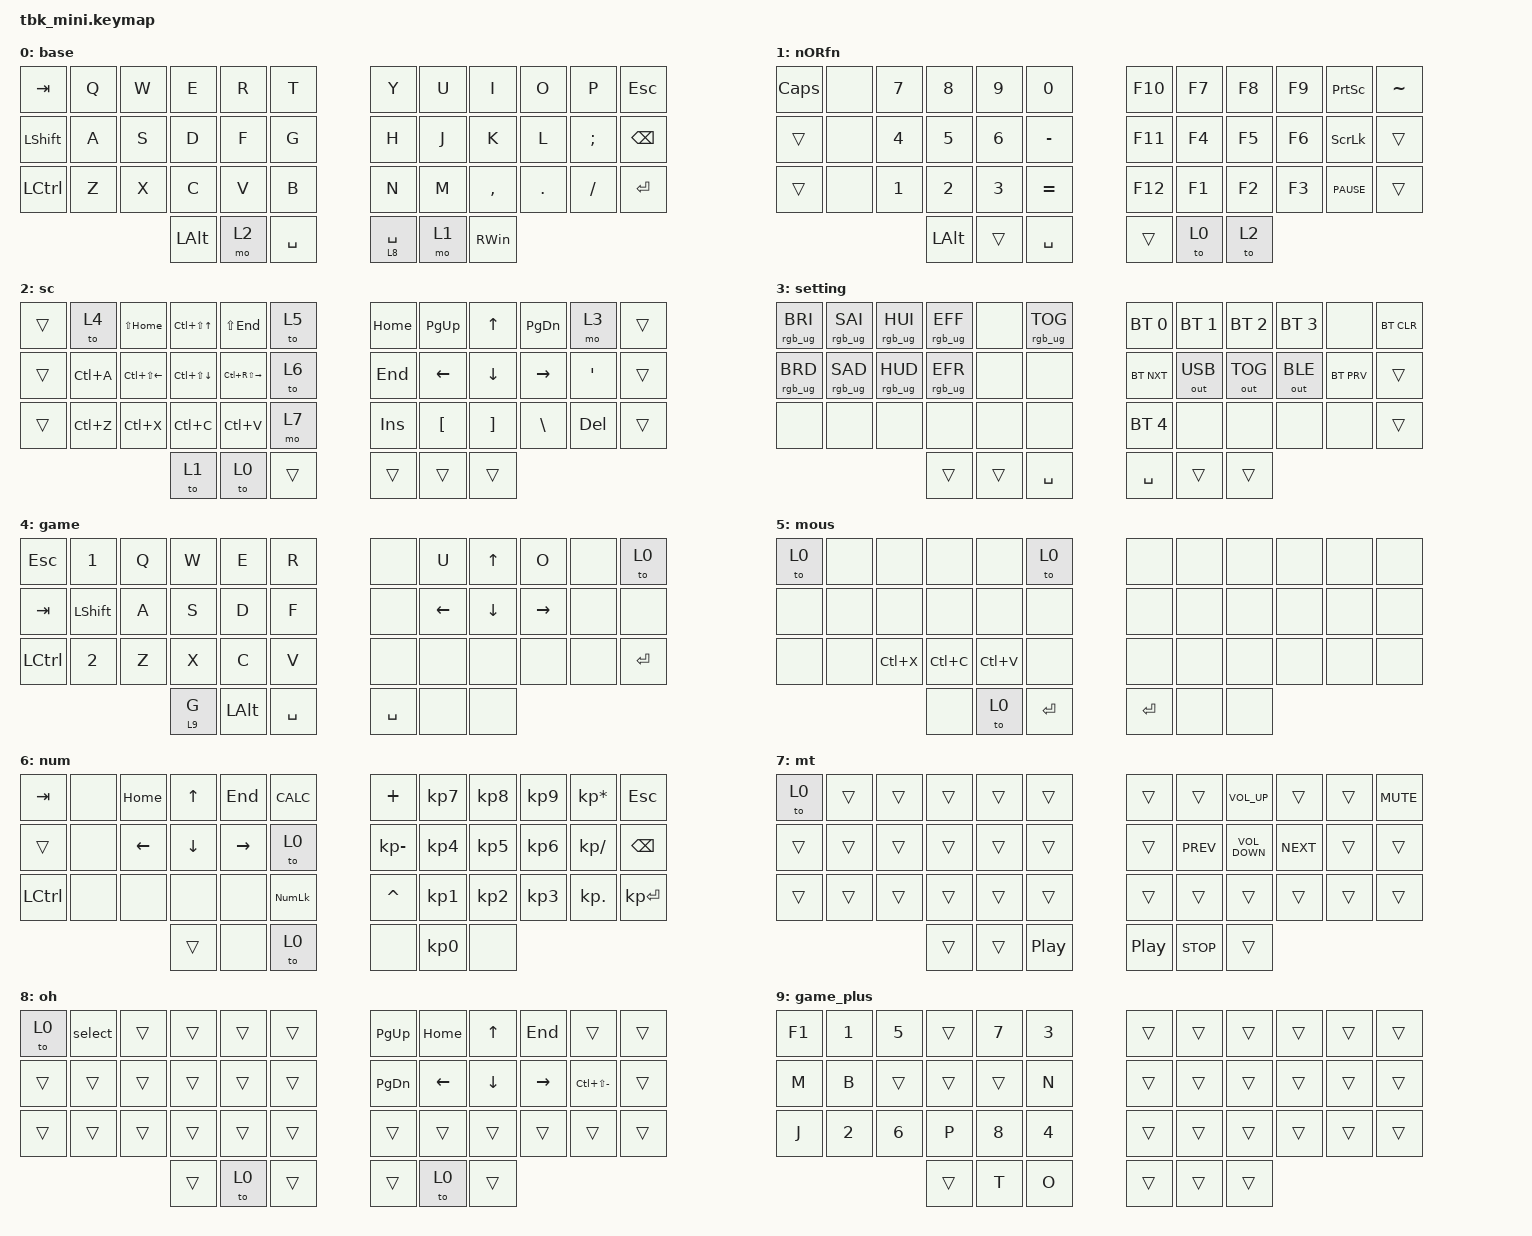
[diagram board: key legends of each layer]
// tbk_mini.keymap

#include <behaviors.dtsi>
#include <dt-bindings/zmk/bt.h>
#include <dt-bindings/zmk/keys.h>
#include <dt-bindings/zmk/outputs.h>
#include <dt-bindings/zmk/rgb.h>

/ {
    macros {
        select: select {
            compatible = "zmk,behavior-macro";
            #binding-cells = <0>;
            bindings = <&none &kp S &kp E &kp L &kp E &kp C &kp T &kp SPACE &kp STAR &kp SPACE &kp F &kp R &kp O &kp M &kp SPACE>;
            label = "SELECT";
        };
    };

    combos {
        compatible = "zmk,combos";

        kp_p {
            bindings = <&kp P>;
            key-positions = <1 0>;
            layers = <4>;
        };

        kp_san {
            bindings = <&kp NUMBER_3>;
            key-positions = <2 1>;
            layers = <4>;
        };

        kp_si {
            bindings = <&kp NUMBER_4>;
            key-positions = <26 25>;
            layers = <4>;
        };

        kp_o {
            bindings = <&kp O>;
            key-positions = <5 4>;
            layers = <4>;
        };

        kp_cap {
            bindings = <&kp CAPS>;
            key-positions = <12 37>;
            layers = <4>;
        };

        kp_5 {
            bindings = <&kp N5>;
            key-positions = <36 1>;
            layers = <4>;
        };

        kp6 {
            bindings = <&kp NUMBER_6>;
            key-positions = <36 25>;
            layers = <4>;
        };

        kp7 {
            bindings = <&kp N7>;
            key-positions = <36 1 2>;
            layers = <4>;
        };

        kp8 {
            bindings = <&kp N8>;
            key-positions = <36 26 25>;
            layers = <4>;
        };

        kpi {
            bindings = <&kp I>;
            key-positions = <37 4>;
            layers = <4>;
        };

        kpm {
            bindings = <&kp M>;
            key-positions = <37 28>;
            layers = <4>;
        };

        kpn {
            bindings = <&kp N>;
            key-positions = <37 29>;
            layers = <4>;
        };

        kpj {
            bindings = <&kp J>;
            key-positions = <37 24>;
            layers = <4>;
        };

        kpt {
            bindings = <&kp T>;
            key-positions = <36 5>;
            layers = <4>;
        };

        kpf1 {
            bindings = <&kp F1>;
            key-positions = <26 27 28>;
            layers = <4>;
        };
    };

    keymap {
        compatible = "zmk,keymap";

        base {
            // -----------------------------------------------------------------------------------------
            // |  ESC |  Q  |  W  |  E  |  R  |  T  |   |  Y  |  U  |  I  |  O  |  P  | BKSP |
            // | 2&TAB|  A  |  S  |  D  |  F  |  G  |   |  H  |  J  |  K  |  L  |  ;  |  '   |
            // | SHFT |  Z  |  X  |  C  |  V  |  B  |   |  N  |  M  |  ,  |  .  |  /  |  GUI |
            //                    | CTRL|  1  |5&SPC|   | ENT |  3  | ALT |

            bindings = <
&kp TAB         &kp Q  &kp W  &kp E         &kp R  &kp T      &kp Y        &kp U  &kp I          &kp O    &kp P     &kp ESC
&kp LEFT_SHIFT  &kp A  &kp S  &kp D         &kp F  &kp G      &kp H        &kp J  &kp K          &kp L    &kp SEMI  &kp BACKSPACE
&kp LCTRL       &kp Z  &kp X  &kp C         &kp V  &kp B      &kp N        &kp M  &kp COMMA      &kp DOT  &kp FSLH  &kp ENTER
                              &kp LEFT_ALT  &mo 2  &kp SPACE  &lt 8 SPACE  &mo 1  &kp RIGHT_WIN
            >;
        };

        nORfn {
            // -----------------------------------------------------------------------------------------
            // |  `  |  1  |  2  |  3  |  4  |  5  |   |  _  |  +  |  |  |     |  {  |  }  |
            // |  ~  |  6  |  7  |  8  |  9  |  0  |   |  -  |  =  |  \  |     |  [  |  ]  |
            // |  .  |  !  |  @  |  #  |  $  |  %  |   |  ^  |  &  |  *  |     |  (  |  )  |
            //                   | CTRL|     | SPC |   | ENT |     | ALT |

            bindings = <
&kp CAPS  &none  &kp N7        &kp NUMBER_8  &kp NUMBER_9  &kp N0     &kp F10  &kp F7  &kp F8  &kp F9  &kp PRINTSCREEN  &kp TILDE
&trans    &none  &kp NUMBER_4  &kp N5        &kp NUMBER_6  &kp MINUS  &kp F11  &kp F4  &kp F5  &kp F6  &kp SCROLLLOCK   &trans
&trans    &none  &kp NUMBER_1  &kp NUMBER_2  &kp NUMBER_3  &kp EQUAL  &kp F12  &kp F1  &kp F2  &kp F3  &kp C_PAUSE      &trans
                               &kp LEFT_ALT  &trans        &kp SPACE  &trans   &to 0   &to 2
            >;
        };

        sc {
            // -----------------------------------------------------------------------------------------
            // |     |  F1  |  F2  |  F3  |  F4  |  F5  |   | HOME|PG_DN|PG_UP| END |     | BKSP |
            // |     |  F6  |  F7  |  F8  |  F9  |  F10 |   | LEFT| DOWN|  UP |RIGHT|     |      |
            // | SHFT|  F11 |  F12 |  C-c |      |      |   |     |     |     |     |     |  GUI |
            //                     |  ALT | BKSP |  ENT |   | ENT |     | ALT |

            bindings = <
&trans  &to 4      &kp LS(HOME)      &kp LC(LS(UP))    &kp LS(END)        &to 5   &kp HOME    &kp PAGE_UP  &kp UP    &kp PAGE_DOWN  &mo 3    &trans
&trans  &kp LC(A)  &kp LC(LS(LEFT))  &kp LC(LS(DOWN))  &kp LC(RS(RIGHT))  &to 6   &kp END     &kp LEFT     &kp DOWN  &kp RIGHT      &kp SQT  &trans
&trans  &kp LC(Z)  &kp LC(X)         &kp LC(C)         &kp LC(V)          &mo 7   &kp INSERT  &kp LBKT     &kp RBKT  &kp BSLH       &kp DEL  &trans
                                     &to 1             &to 0              &trans  &trans      &trans       &trans
            >;
        };

        setting {
            // -----------------------------------------------------------------------------------------
            // |  `  |     |     |     |     |     |   | HOME|PG_DN|PG_UP| END |     |  DEL |
            // |  ~  |     |     |     |     |     |   | LEFT| DOWN|  UP |RIGHT|     |      |
            // | SHFT|     |     |     |     |     |   | PREV|VOLDN| MUTE|VOLUP| NEXT|PLAY_PAUSE|
            //                   | CTRL|  4  | SPC |   | ENT |     | ALT |

            bindings = <
&rgb_ug RGB_BRI  &rgb_ug RGB_SAI  &rgb_ug RGB_HUI  &rgb_ug RGB_EFF  &none   &rgb_ug RGB_TOG  &bt BT_SEL 0  &bt BT_SEL 1  &bt BT_SEL 2  &bt BT_SEL 3  &none       &bt BT_CLR
&rgb_ug RGB_BRD  &rgb_ug RGB_SAD  &rgb_ug RGB_HUD  &rgb_ug RGB_EFR  &none   &none            &bt BT_NXT    &out OUT_USB  &out OUT_TOG  &out OUT_BLE  &bt BT_PRV  &trans
&none            &none            &none            &none            &none   &none            &bt BT_SEL 4  &none         &none         &none         &none       &trans
                                                   &trans           &trans  &kp SPACE        &kp SPACE     &trans        &trans
            >;
        };

        game {
            // -----------------------------------------------------------------------------------------
            // | BTCLR|     |     |     | BOOT|RESET|   |RESET| BOOT|     |     |     |      |
            // |      |     |     |     |     | OUT |   |     |     |     |     |     |      |
            // |      | BT1 | BT2 | BT3 | BT4 | BT5 |   |     |     |     |     |     |      |
            //                    |     |     |     |   |     |     |     |

            bindings = <
&kp ESC    &kp NUMBER_1    &kp Q  &kp W    &kp E         &kp R      &none      &kp U     &kp UP    &kp O      &none  &to 0
&kp TAB    &kp LEFT_SHIFT  &kp A  &kp S    &kp D         &kp F      &none      &kp LEFT  &kp DOWN  &kp RIGHT  &none  &none
&kp LCTRL  &kp NUMBER_2    &kp Z  &kp X    &kp C         &kp V      &none      &none     &none     &none      &none  &kp ENTER
                                  &lt 9 G  &kp LEFT_ALT  &kp SPACE  &kp SPACE  &none     &none
            >;
        };

        mous {
            bindings = <
&to 0  &none  &none      &none      &none      &to 0      &none      &none  &none  &none  &none  &none
&none  &none  &none      &none      &none      &none      &none      &none  &none  &none  &none  &none
&none  &none  &kp LC(X)  &kp LC(C)  &kp LC(V)  &none      &none      &none  &none  &none  &none  &none
                         &none      &to 0      &kp ENTER  &kp ENTER  &none  &none
            >;
        };

        num {
            bindings = <
&kp TAB    &none  &kp HOME  &kp UP    &kp END    &kp K_CALC  &kp PLUS         &kp KP_NUMBER_7  &kp KP_NUMBER_8  &kp KP_NUMBER_9  &kp KP_ASTERISK  &kp ESC
&trans     &none  &kp LEFT  &kp DOWN  &kp RIGHT  &to 0       &kp KP_SUBTRACT  &kp KP_NUMBER_4  &kp KP_NUMBER_5  &kp KP_NUMBER_6  &kp KP_DIVIDE    &kp BACKSPACE
&kp LCTRL  &none  &none     &none     &none      &kp KP_NUM  &kp CARET        &kp KP_NUMBER_1  &kp KP_NUMBER_2  &kp KP_NUMBER_3  &kp KP_DOT       &kp KP_ENTER
                            &trans    &none      &to 0       &none            &kp KP_N0        &none
            >;
        };

        mt {
            bindings = <
&to 0   &trans  &trans  &trans  &trans  &trans    &trans    &trans      &kp C_VOL_UP       &trans      &trans  &kp C_MUTE
&trans  &trans  &trans  &trans  &trans  &trans    &trans    &kp C_PREV  &kp C_VOLUME_DOWN  &kp C_NEXT  &trans  &trans
&trans  &trans  &trans  &trans  &trans  &trans    &trans    &trans      &trans             &trans      &trans  &trans
                        &trans  &trans  &kp C_PP  &kp C_PP  &kp C_STOP  &trans
            >;
        };

        oh {
            bindings = <
&to 0   &select  &trans  &trans  &trans  &trans  &kp PG_UP  &kp HOME  &kp UP    &kp END    &trans             &trans
&trans  &trans   &trans  &trans  &trans  &trans  &kp PG_DN  &kp LEFT  &kp DOWN  &kp RIGHT  &kp LC(LS(MINUS))  &trans
&trans  &trans   &trans  &trans  &trans  &trans  &trans     &trans    &trans    &trans     &trans             &trans
                         &trans  &to 0   &trans  &trans     &to 0     &trans
            >;
        };

        game_plus {
            bindings = <
&kp F1  &kp NUMBER_1  &kp N5        &trans  &kp N7  &kp NUMBER_3  &trans  &trans  &trans  &trans  &trans  &trans
&kp M   &kp B         &trans        &trans  &trans  &kp N         &trans  &trans  &trans  &trans  &trans  &trans
&kp J   &kp NUMBER_2  &kp NUMBER_6  &kp P   &kp N8  &kp NUMBER_4  &trans  &trans  &trans  &trans  &trans  &trans
                                    &trans  &kp T   &kp O         &trans  &trans  &trans
            >;
        };
    };
};
